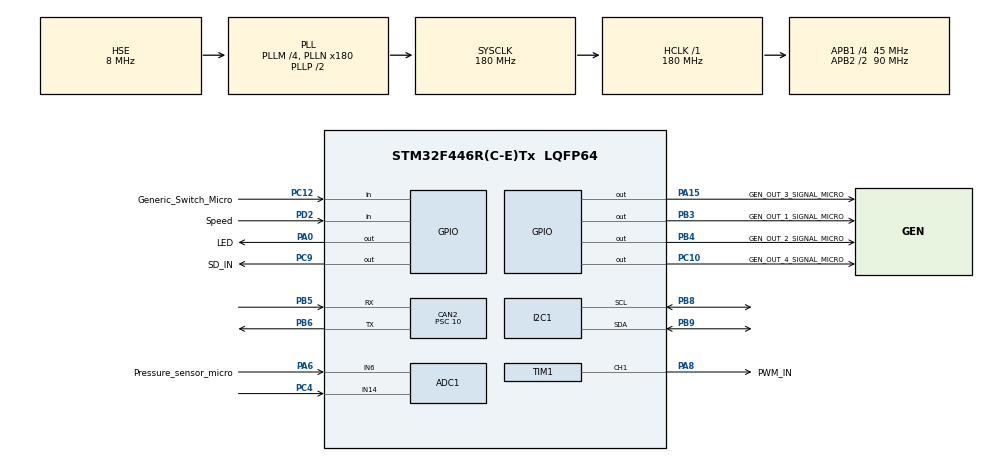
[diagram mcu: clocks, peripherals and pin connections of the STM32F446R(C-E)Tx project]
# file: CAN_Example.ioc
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ADC1.Channel-0\#ChannelRegularConversion=ADC_CHANNEL_6
ADC1.Channel-1\#ChannelRegularConversion=ADC_CHANNEL_14
ADC1.ContinuousConvMode=ENABLE
ADC1.DMAContinuousRequests=ENABLE
ADC1.DiscontinuousConvMode=DISABLE
ADC1.InjNumberOfConversion=0
ADC1.NbrOfConversion=2
ADC1.NbrOfConversionFlag=1
ADC1.Rank-0\#ChannelRegularConversion=1
ADC1.Rank-1\#ChannelRegularConversion=2
ADC1.SamplingTime-0\#ChannelRegularConversion=ADC_SAMPLETIME_3CYCLES
ADC1.SamplingTime-1\#ChannelRegularConversion=ADC_SAMPLETIME_3CYCLES
ADC1.ScanConvMode=ENABLE
ADC1.master=1
CAN2.BS1=CAN_BS1_15TQ
CAN2.BS2=CAN_BS2_2TQ
CAN2.CalculateBaudRate=250000
CAN2.CalculateTimeBit=4000
CAN2.CalculateTimeQuantum=222.22222222222223
CAN2.Prescaler=10
CAN2.RFLM=DISABLE
Dma.ADC1.0.Direction=DMA_PERIPH_TO_MEMORY
Dma.ADC1.0.FIFOMode=DMA_FIFOMODE_DISABLE
Dma.ADC1.0.Instance=DMA2_Stream0
Dma.ADC1.0.MemDataAlignment=DMA_MDATAALIGN_HALFWORD
Dma.ADC1.0.MemInc=DMA_MINC_ENABLE
Dma.ADC1.0.Mode=DMA_CIRCULAR
Dma.ADC1.0.PeriphDataAlignment=DMA_PDATAALIGN_HALFWORD
Dma.ADC1.0.PeriphInc=DMA_PINC_DISABLE
Dma.ADC1.0.Priority=DMA_PRIORITY_LOW
Dma.Request0=ADC1
Mcu.Family=STM32F4
Mcu.Name=STM32F446R(C-E)Tx
Mcu.Package=LQFP64
NVIC.CAN2_RX0_IRQn=true\:0\:0\:false\:false\:true\:true\:true\:true
NVIC.DMA2_Stream0_IRQn=true\:0\:0\:false\:false\:true\:false\:true\:true
NVIC.PriorityGroup=NVIC_PRIORITYGROUP_4
PA0-WKUP.GPIO_Label=LED
PA0-WKUP.Signal=GPIO_Output
PA15.GPIO_Label=GEN_OUT_3_SIGNAL_MICRO
PA15.Signal=GPIO_Output
PA6.GPIO_Label=Pressure_sensor_micro
PA6.Signal=ADCx_IN6
PA8.GPIO_Label=PWM_IN
PA8.Signal=S_TIM1_CH1
PB3.GPIO_Label=GEN_OUT_1_SIGNAL_MICRO
PB3.Signal=GPIO_Output
PB4.GPIO_Label=GEN_OUT_2_SIGNAL_MICRO
PB4.Signal=GPIO_Output
PB5.Mode=CAN_Activate
PB5.Signal=CAN2_RX
PB6.Mode=CAN_Activate
PB6.Signal=CAN2_TX
PB8.Mode=I2C
PB8.Signal=I2C1_SCL
PB9.Mode=I2C
PB9.Signal=I2C1_SDA
PC10.GPIO_Label=GEN_OUT_4_SIGNAL_MICRO
PC10.Signal=GPIO_Output
PC12.GPIO_Label=Generic_Switch_Micro
PC12.Signal=GPIO_Input
PC4.Signal=ADCx_IN14
PC9.GPIO_Label=SD_IN
PC9.Signal=GPIO_Output
PD2.GPIO_Label=Speed
PD2.Signal=GPIO_Input
PH0-OSC_IN.Mode=HSE-External-Oscillator
PH0-OSC_IN.Signal=RCC_OSC_IN
PH1-OSC_OUT.Mode=HSE-External-Oscillator
PH1-OSC_OUT.Signal=RCC_OSC_OUT
ProjectManager.HeapSize=0x200
ProjectManager.StackSize=0x400
ProjectManager.TargetToolchain=STM32CubeIDE
RCC.AHBFreq_Value=180000000
RCC.APB1CLKDivider=RCC_HCLK_DIV4
RCC.APB1Freq_Value=45000000
RCC.APB1TimFreq_Value=90000000
RCC.APB2CLKDivider=RCC_HCLK_DIV2
RCC.APB2Freq_Value=90000000
RCC.APB2TimFreq_Value=180000000
RCC.CortexFreq_Value=180000000
RCC.HCLKFreq_Value=180000000
RCC.HSE_VALUE=8000000
RCC.PLLM=4
RCC.PLLN=180
RCC.PLLSourceVirtual=RCC_PLLSOURCE_HSE
RCC.SYSCLKFreq_VALUE=180000000
RCC.SYSCLKSource=RCC_SYSCLKSOURCE_PLLCLK
RCC.USBFreq_Value=180000000
RCC.VCOOutputFreq_Value=360000000
SH.ADCx_IN14.0=ADC1_IN14,IN14
SH.ADCx_IN6.0=ADC1_IN6,IN6
SH.S_TIM1_CH1.0=TIM1_CH1,Output Compare1 CH1
TIM1.Channel-Output\ Compare1\ CH1=TIM_CHANNEL_1
VP_TIM1_VS_ClockSourceINT.Mode=Internal
board=custom

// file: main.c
/* USER CODE BEGIN Header */
/**
  ******************************************************************************
  * @file           : main.c
  * @brief          : Main program body
  ******************************************************************************
  * @attention
  *
  * Copyright (c) 2024 STMicroelectronics.
  * All rights reserved.
  *
  * This software is licensed under terms that can be found in the LICENSE file
  * in the root directory of this software component.
  * If no LICENSE file comes with this software, it is provided AS-IS.
  *
  ******************************************************************************
  */
/* USER CODE END Header */
#include "main.h"
#include "adc.h"
#include "can.h"
#include "dma.h"
#include "i2c.h"
#include "tim.h"
#include "gpio.h"

/* USER CODE BEGIN Includes */
#include <string.h>
#include "EasyCAN.h"
/* USER CODE END Includes */

/* USER CODE BEGIN PV */
 //CAN Bus Transmit Header
  //CAN Bus Receive Buffer
uint8_t canTx[8];
CAN_RxHeaderTypeDef rxHeader;
uint8_t canRx[8] = {0,0,0,0,0,0,0,0};
uint16_t adc_dma_result[128];
uint32_t avg[2];
/* USER CODE END PV */

void SystemClock_Config(void);
/* USER CODE BEGIN PFP */
void avgADCValues(uint32_t channels){
	uint32_t len=sizeof(adc_dma_result)/sizeof(adc_dma_result[0]);
	uint32_t sum;
	for(int n=0;n<channels;n++){
		sum=0;
		for(int i=n;i<len;i+=channels){
			sum+=adc_dma_result[i];
		}
		uint32_t nVal=len/channels;
		avg[n]=sum/nVal;
	}
}

/* USER CODE END PFP */

int main(void)
{

  /* MCU Configuration--------------------------------------------------------*/

  /* Reset of all peripherals, Initializes the Flash interface and the Systick. */
  HAL_Init();

  /* Configure the system clock */
  SystemClock_Config();

  /* Initialize all configured peripherals */
  MX_GPIO_Init();
  MX_DMA_Init();
  MX_TIM1_Init();
  MX_ADC1_Init();
  MX_CAN2_Init();
  MX_I2C1_Init();
  /* USER CODE BEGIN 2 */

  HAL_ADC_Start_DMA(&hadc1,(uint32_t*)adc_dma_result,128);
  CAN_FilterTypeDef canFil;

    canFil.FilterBank = 10;
    canFil.FilterMode = CAN_FILTERMODE_IDMASK;
    canFil.FilterFIFOAssignment = CAN_RX_FIFO0;
    canFil.FilterIdHigh = 0;
    canFil.FilterIdLow = 0;
    canFil.FilterMaskIdHigh = 0;
    canFil.FilterMaskIdLow = 0;
    canFil.FilterScale = CAN_FILTERSCALE_32BIT;
    canFil.FilterActivation = ENABLE;
    canFil.SlaveStartFilterBank = 0;

  HAL_CAN_ConfigFilter(&hcan2, &canFil);
  HAL_CAN_Start(&hcan2);
  HAL_CAN_ActivateNotification(&hcan2, CAN_IT_RX_FIFO0_MSG_PENDING);

  /* USER CODE END 2 */

  /* Infinite loop */
  while (1)
  {

    /* USER CODE BEGIN 3 */
	  //HAL_ADC_Start_DMA(&hadc1,(uint32_t*)adc_dma_result,4);
	  /*uint32_t sum=adc_dma_result[0];
	  for(int i=2;i<128;i++){
		 if( i % 2==0){
			 sum+=adc_dma_result[i];
		 }
	  }
	  uint32_t avg[2];
	  avg[0]=sum/64;
	  memcpy(canTx,&avg[0],4);
	  sendCAN(0x033,canTx,4);
	  //memcpy(canTx,&sum,2);
	  //sendCAN(0x033,canTx,2);//
	  sum=adc_dma_result[1];
	  for(int i=2;i<128;i++){
		 if( i % 2==1){
		 	 sum+=adc_dma_result[i];
		 }
	   }
	   avg[1]=sum/64;
	   memcpy(canTx,&avg[1],4);
	   sendCAN(0x03F,canTx,4);
	   //memcpy(canTx,&sum,2);
	   //sendCAN(0x03F,canTx,2);*/

	  avgADCValues(2);
	  memcpy(canTx,&avg[0],4);
	  sendCAN(0x033,canTx,4);
	  memcpy(canTx,&avg[1],4);
	  sendCAN(0x03F,canTx,4);
	   HAL_Delay(10);
  }
  /* USER CODE END 3 */
}

void SystemClock_Config(void)
{
  RCC_OscInitTypeDef RCC_OscInitStruct = {0};
  RCC_ClkInitTypeDef RCC_ClkInitStruct = {0};

  /** Configure the main internal regulator output voltage
  */
  __HAL_RCC_PWR_CLK_ENABLE();
  __HAL_PWR_VOLTAGESCALING_CONFIG(PWR_REGULATOR_VOLTAGE_SCALE1);

  /** Initializes the RCC Oscillators according to the specified parameters
  * in the RCC_OscInitTypeDef structure.
  */
  RCC_OscInitStruct.OscillatorType = RCC_OSCILLATORTYPE_HSE;
  RCC_OscInitStruct.HSEState = RCC_HSE_ON;
  RCC_OscInitStruct.PLL.PLLState = RCC_PLL_ON;
  RCC_OscInitStruct.PLL.PLLSource = RCC_PLLSOURCE_HSE;
  RCC_OscInitStruct.PLL.PLLM = 4;
  RCC_OscInitStruct.PLL.PLLN = 180;
  RCC_OscInitStruct.PLL.PLLP = RCC_PLLP_DIV2;
  RCC_OscInitStruct.PLL.PLLQ = 2;
  RCC_OscInitStruct.PLL.PLLR = 2;
  if (HAL_RCC_OscConfig(&RCC_OscInitStruct) != HAL_OK)
  {
    Error_Handler();
  }

  /** Activate the Over-Drive mode
  */
  if (HAL_PWREx_EnableOverDrive() != HAL_OK)
  {
    Error_Handler();
  }

  /** Initializes the CPU, AHB and APB buses clocks
  */
  RCC_ClkInitStruct.ClockType = RCC_CLOCKTYPE_HCLK|RCC_CLOCKTYPE_SYSCLK
                              |RCC_CLOCKTYPE_PCLK1|RCC_CLOCKTYPE_PCLK2;
  RCC_ClkInitStruct.SYSCLKSource = RCC_SYSCLKSOURCE_PLLCLK;
  RCC_ClkInitStruct.AHBCLKDivider = RCC_SYSCLK_DIV1;
  RCC_ClkInitStruct.APB1CLKDivider = RCC_HCLK_DIV4;
  RCC_ClkInitStruct.APB2CLKDivider = RCC_HCLK_DIV2;

  if (HAL_RCC_ClockConfig(&RCC_ClkInitStruct, FLASH_LATENCY_5) != HAL_OK)
  {
    Error_Handler();
  }
}

void Error_Handler(void)
{
  __disable_irq();
  while (1)
  {
  }
}
